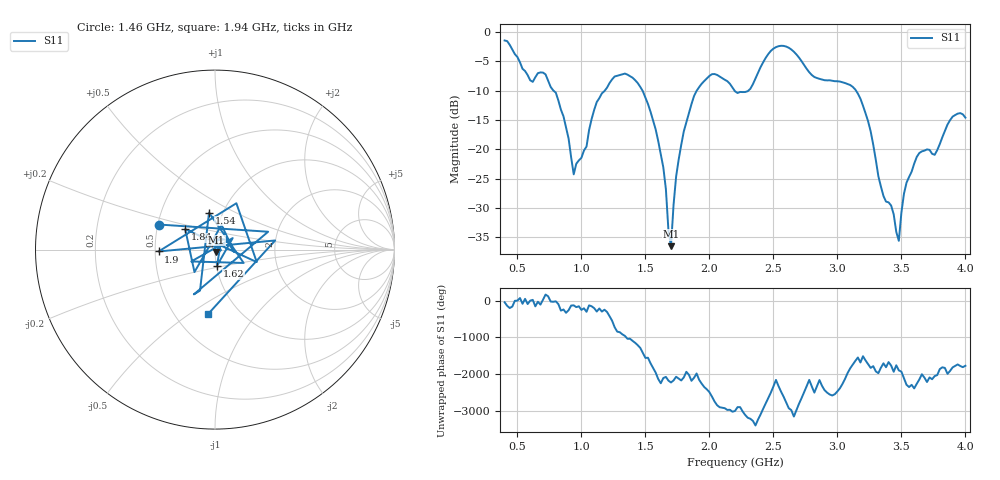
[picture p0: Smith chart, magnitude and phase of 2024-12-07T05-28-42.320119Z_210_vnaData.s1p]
!Created with skrf (http://scikit-rf.org).
# Hz S RI R 50.0
!freq ReS11 ImS11
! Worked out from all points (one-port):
!   181 points, 400 MHz to 4 GHz, reference 50 ohm
!   lowest |S11| = -36.5 dB at 1.7 GHz (marker M1), VSWR 1.03, Z = 50.7 - j1.34 ohm
!   |S11| at or under -10 dB: 781.5 MHz to 1.183 GHz (401.2 MHz wide, 40.8 % of centre); 1.477 GHz to 1.901 GHz (424.2 MHz wide, 25.1 % of centre); 3.145 GHz to end of sweep (the widest 3 of 4)
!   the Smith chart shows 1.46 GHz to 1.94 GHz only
!   S11 on the Smith chart (normalised r, x): 1.46 GHz: 0.51, +0.16; 1.54 GHz: 0.86, +0.37; 1.62 GHz: 1.00, -0.18; 1.84 GHz: 0.70, +0.17; 1.9 GHz: 0.52, -0.01; 1.94 GHz: 0.72, -0.60
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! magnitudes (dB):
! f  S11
! 400 MHz  -1.5
! 600 MHz  -8.2
! 720 MHz  -7.2
! 860 MHz  -14.4
! 940 MHz  -24.3
! 1.12 GHz  -11.9
! 1.3 GHz  -7.3
! 1.46 GHz  -9.4
! 1.54 GHz  -13.6
! 1.62 GHz  -20.8
! 1.7 GHz  -36.5
! 1.76 GHz  -21.7
! 1.84 GHz  -13.9
! 1.9 GHz  -10.0
! 1.94 GHz  -8.8
! 2.2 GHz  -10.1
! 2.32 GHz  -9.7
! 2.5 GHz  -2.8
! 2.66 GHz  -3.4
! 3.1 GHz  -9.0
! 3.24 GHz  -15.2
! 3.34 GHz  -26.4
! 3.48 GHz  -35.6
! 3.52 GHz  -27.6
! 3.56 GHz  -24.7
! 3.76 GHz  -20.9
! 3.9 GHz  -14.4
! 4 GHz  -14.6
